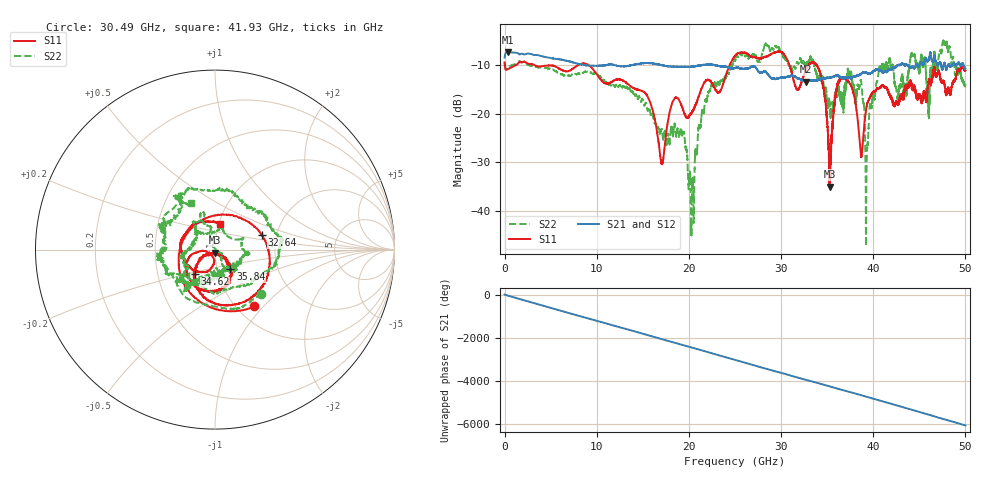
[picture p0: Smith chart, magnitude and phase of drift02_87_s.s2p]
!Created with skrf (http://scikit-rf.org).
# Hz S RI R 50.0
!freq ReS11 ImS11 ReS21 ImS21 ReS12 ImS12 ReS22 ImS22
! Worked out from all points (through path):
!   10001 points, 300 kHz to 50 GHz, reference 50 ohm
!   highest |S21| = -7.31 dB at 325.3 MHz (marker M1); lowest = -13.4 dB at 32.73 GHz (marker M2)
!   group delay of S21, straight-line fit = 335 ps
!   lowest |S11| = -35.0 dB at 35.31 GHz (marker M3), VSWR 1.04, Z = 50 - j1.78 ohm
!   |S11| at or under -10 dB: 3.225 GHz to 8.005 GHz (4.78 GHz wide, 85.1 % of centre); 9.107 GHz to 24.42 GHz (15.31 GHz wide, 91.3 % of centre); 33.85 GHz to end of sweep (the widest 3 of 8)
!   |S22| runs from -47.2 to -4.9 dB; largest |S21 - S12| = 0.013
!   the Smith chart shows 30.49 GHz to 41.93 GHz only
!   S11 on the Smith chart (normalised r, x): 30.49 GHz: 1.20, -0.89; 32.64 GHz: 1.67, +0.30; 34.62 GHz: 0.77, -0.22; 35.84 GHz: 1.16, -0.26; 41.93 GHz: 1.02, +0.29
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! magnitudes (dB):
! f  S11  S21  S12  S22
! 300 kHz  -9.5  -8.5  -8.4  -9.4
! 325.3 MHz  -10.9  -7.3  -7.3  -10.6
! 8.335 GHz  -9.7  -9.9  -9.9  -11.6
! 16.67 GHz  -25.4  -9.9  -9.9  -22.8
! 19.31 GHz  -18.9  -10.4  -10.3  -24.5
! 20.37 GHz  -19.6  -10.3  -10.3  -34.0
! 21.94 GHz  -13.1  -9.9  -9.9  -17.1
! 25 GHz  -8.2  -10.6  -10.6  -9.1
! 30.49 GHz  -8.3  -12.5  -12.4  -9.0
! 32.64 GHz  -11.3  -13.3  -13.4  -10.4
! 32.73 GHz  -10.9  -13.4  -13.5  -9.9
! 33.34 GHz  -9.4  -13.1  -13.2  -9.0
! 34.62 GHz  -15.0  -12.7  -12.7  -14.0
! 35.31 GHz  -35.0  -12.6  -12.5  -19.3
! 35.84 GHz  -17.1  -12.2  -12.3  -15.9
! 37.43 GHz  -13.7  -12.6  -12.5  -12.0
! 38.56 GHz  -26.1  -12.0  -11.9  -13.9
! 39.32 GHz  -18.2  -11.6  -11.6  -27.9
! 41.67 GHz  -15.7  -10.9  -11.1  -9.7
! 41.93 GHz  -16.9  -11.0  -10.9  -10.7
! 47.76 GHz  -14.2  -9.7  -9.7  -5.6
! 50 GHz  -11.1  -10.8  -10.8  -13.9
